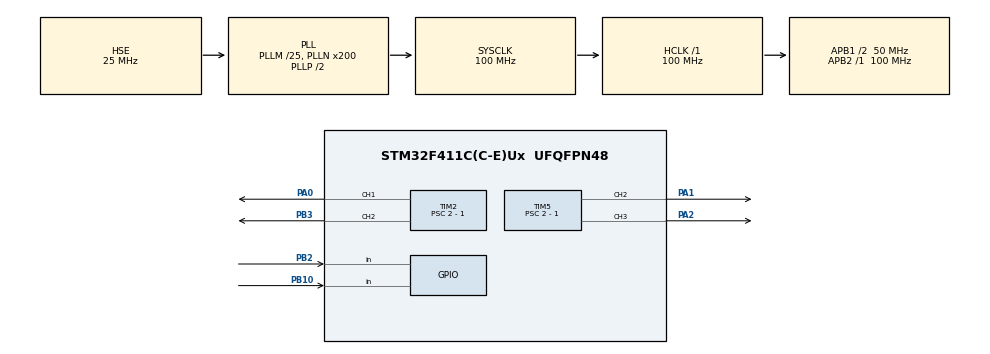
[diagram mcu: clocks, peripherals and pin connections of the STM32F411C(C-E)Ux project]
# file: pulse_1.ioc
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Mcu.Family=STM32F4
Mcu.Name=STM32F411C(C-E)Ux
Mcu.Package=UFQFPN48
NVIC.PriorityGroup=NVIC_PRIORITYGROUP_4
PA0-WKUP.Signal=S_TIM2_CH1_ETR
PA1.Signal=S_TIM5_CH2
PA13.Mode=Serial_Wire
PA13.Signal=SYS_JTMS-SWDIO
PA14.Mode=Serial_Wire
PA14.Signal=SYS_JTCK-SWCLK
PA2.Signal=S_TIM5_CH3
PB10.Signal=GPIO_Input
PB2.Signal=GPIO_Input
PB3.Signal=S_TIM2_CH2
PH0\ -\ OSC_IN.Mode=HSE-External-Oscillator
PH0\ -\ OSC_IN.Signal=RCC_OSC_IN
PH1\ -\ OSC_OUT.Mode=HSE-External-Oscillator
PH1\ -\ OSC_OUT.Signal=RCC_OSC_OUT
ProjectManager.HeapSize=0x200
ProjectManager.StackSize=0x400
ProjectManager.TargetToolchain=STM32CubeIDE
RCC.48MHZClocksFreq_Value=50000000
RCC.AHBFreq_Value=100000000
RCC.APB1CLKDivider=RCC_HCLK_DIV2
RCC.APB1Freq_Value=50000000
RCC.APB1TimFreq_Value=100000000
RCC.APB2Freq_Value=100000000
RCC.APB2TimFreq_Value=100000000
RCC.CortexFreq_Value=100000000
RCC.HCLKFreq_Value=100000000
RCC.HSE_VALUE=25000000
RCC.HSI_VALUE=16000000
RCC.LSE_VALUE=32768
RCC.PLLM=25
RCC.PLLN=200
RCC.PLLSourceVirtual=RCC_PLLSOURCE_HSE
RCC.SYSCLKFreq_VALUE=100000000
RCC.SYSCLKSource=RCC_SYSCLKSOURCE_PLLCLK
RCC.VCOOutputFreq_Value=200000000
SH.S_TIM2_CH1_ETR.0=TIM2_CH1,PWM Generation1 CH1
SH.S_TIM2_CH2.0=TIM2_CH2,PWM Generation2 CH2
SH.S_TIM5_CH2.0=TIM5_CH2,PWM Generation2 CH2
SH.S_TIM5_CH3.0=TIM5_CH3,PWM Generation3 CH3
TIM2.Channel-PWM\ Generation1\ CH1=TIM_CHANNEL_1
TIM2.Channel-PWM\ Generation2\ CH2=TIM_CHANNEL_2
TIM2.OCMode_PWM-PWM\ Generation2\ CH2=TIM_OCMODE_PWM2
TIM2.Period=10000-1
TIM2.Prescaler=2 - 1
TIM2.Pulse-PWM\ Generation1\ CH1=300-1
TIM2.Pulse-PWM\ Generation2\ CH2=300-1
TIM5.Channel-PWM\ Generation2\ CH2=TIM_CHANNEL_2
TIM5.Channel-PWM\ Generation3\ CH3=TIM_CHANNEL_3
TIM5.OCMode_PWM-PWM\ Generation2\ CH2=TIM_OCMODE_PWM1
TIM5.OCMode_PWM-PWM\ Generation3\ CH3=TIM_OCMODE_PWM2
TIM5.Period=10000-1
TIM5.Prescaler=2 - 1
TIM5.Pulse-PWM\ Generation2\ CH2=300-1
TIM5.Pulse-PWM\ Generation3\ CH3=300-1
TIM9.Period=500
TIM9.Prescaler=2-1
VP_TIM2_VS_ClockSourceINT.Mode=Internal
VP_TIM5_VS_ClockSourceINT.Mode=Internal
VP_TIM9_VS_ClockSourceINT.Mode=Internal
board=custom

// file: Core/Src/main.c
/* USER CODE BEGIN Header */
/**
  ******************************************************************************
  * @file           : main.c
  * @brief          : Main program body
  ******************************************************************************
  * @attention
  *
  * <h2><center>&copy; Copyright (c) 2021 STMicroelectronics.
  * All rights reserved.</center></h2>
  *
  * This software component is licensed by ST under BSD 3-Clause license,
  * the "License"; You may not use this file except in compliance with the
  * License. You may obtain a copy of the License at:
  *                        opensource.org/licenses/BSD-3-Clause
  *
  ******************************************************************************
  */
/* USER CODE END Header */
#include "main.h"

/* USER CODE BEGIN Includes */
#include "stdbool.h"
#include "stdio.h"
/* USER CODE END Includes */

TIM_HandleTypeDef htim2;
TIM_HandleTypeDef htim5;
TIM_HandleTypeDef htim9;

/* USER CODE BEGIN PV */

bool good = false;
bool ready = false;

int good_count = 0;
int ready_count = 0;

/* USER CODE END PV */

void SystemClock_Config(void);
static void MX_GPIO_Init(void);
static void MX_TIM2_Init(void);
static void MX_TIM9_Init(void);
static void MX_TIM5_Init(void);

/* USER CODE BEGIN 0 */
void 	 wait_good  (void);
void 	 wait_ready (void);
uint32_t millis     (void);
/* USER CODE END 0 */

int main(void)
{

  /* MCU Configuration--------------------------------------------------------*/

  /* Reset of all peripherals, Initializes the Flash interface and the Systick. */
  HAL_Init();

  /* Configure the system clock */
  SystemClock_Config();

  /* Initialize all configured peripherals */
  MX_GPIO_Init();
  MX_TIM2_Init();
  MX_TIM9_Init();
  MX_TIM5_Init();
  /* USER CODE BEGIN 2 */
  HAL_Delay(1000);

  wait_good();  // wait for good high(PB10)
  wait_ready();  // wait for ready high(PB2)

  HAL_Delay(1000);

  int count = 0;
  HAL_TIM_Base_Start(&htim9);

  /* USER CODE END 2 */

  /* Infinite loop */
  /* USER CODE BEGIN WHILE */
  while (1)
  {
	if(__HAL_TIM_GET_FLAG(&htim9, TIM_FLAG_UPDATE))
	{
		if(count == 0)
		{
			__HAL_TIM_CLEAR_IT(&htim9, TIM_IT_UPDATE);
			count += 1;
			HAL_TIM_PWM_Start(&htim2, TIM_CHANNEL_1);
			HAL_TIM_PWM_Start(&htim2, TIM_CHANNEL_2);
		}
		else if(count == 1)
		{
			  HAL_TIM_PWM_Start(&htim5, TIM_CHANNEL_2);
			  HAL_TIM_PWM_Start(&htim5, TIM_CHANNEL_3);
			  __HAL_TIM_CLEAR_IT(&htim9, TIM_IT_UPDATE);
			  count += 1;
		}
	}
    /* USER CODE END WHILE */

  }
}

void SystemClock_Config(void)
{
  RCC_OscInitTypeDef RCC_OscInitStruct = {0};
  RCC_ClkInitTypeDef RCC_ClkInitStruct = {0};

  /** Configure the main internal regulator output voltage
  */
  __HAL_RCC_PWR_CLK_ENABLE();
  __HAL_PWR_VOLTAGESCALING_CONFIG(PWR_REGULATOR_VOLTAGE_SCALE1);
  /** Initializes the RCC Oscillators according to the specified parameters
  * in the RCC_OscInitTypeDef structure.
  */
  RCC_OscInitStruct.OscillatorType = RCC_OSCILLATORTYPE_HSE;
  RCC_OscInitStruct.HSEState = RCC_HSE_ON;
  RCC_OscInitStruct.PLL.PLLState = RCC_PLL_ON;
  RCC_OscInitStruct.PLL.PLLSource = RCC_PLLSOURCE_HSE;
  RCC_OscInitStruct.PLL.PLLM = 25;
  RCC_OscInitStruct.PLL.PLLN = 200;
  RCC_OscInitStruct.PLL.PLLP = RCC_PLLP_DIV2;
  RCC_OscInitStruct.PLL.PLLQ = 4;
  if (HAL_RCC_OscConfig(&RCC_OscInitStruct) != HAL_OK)
  {
    Error_Handler();
  }
  /** Initializes the CPU, AHB and APB buses clocks
  */
  RCC_ClkInitStruct.ClockType = RCC_CLOCKTYPE_HCLK|RCC_CLOCKTYPE_SYSCLK
                              |RCC_CLOCKTYPE_PCLK1|RCC_CLOCKTYPE_PCLK2;
  RCC_ClkInitStruct.SYSCLKSource = RCC_SYSCLKSOURCE_PLLCLK;
  RCC_ClkInitStruct.AHBCLKDivider = RCC_SYSCLK_DIV1;
  RCC_ClkInitStruct.APB1CLKDivider = RCC_HCLK_DIV2;
  RCC_ClkInitStruct.APB2CLKDivider = RCC_HCLK_DIV1;

  if (HAL_RCC_ClockConfig(&RCC_ClkInitStruct, FLASH_LATENCY_3) != HAL_OK)
  {
    Error_Handler();
  }
}

static void MX_TIM2_Init(void)
{

  TIM_ClockConfigTypeDef sClockSourceConfig = {0};
  TIM_MasterConfigTypeDef sMasterConfig = {0};
  TIM_OC_InitTypeDef sConfigOC = {0};

  htim2.Instance = TIM2;
  htim2.Init.Prescaler = 2 - 1;
  htim2.Init.CounterMode = TIM_COUNTERMODE_UP;
  htim2.Init.Period = 10000-1;
  htim2.Init.ClockDivision = TIM_CLOCKDIVISION_DIV1;
  htim2.Init.AutoReloadPreload = TIM_AUTORELOAD_PRELOAD_DISABLE;
  if (HAL_TIM_Base_Init(&htim2) != HAL_OK)
  {
    Error_Handler();
  }
  sClockSourceConfig.ClockSource = TIM_CLOCKSOURCE_INTERNAL;
  if (HAL_TIM_ConfigClockSource(&htim2, &sClockSourceConfig) != HAL_OK)
  {
    Error_Handler();
  }
  if (HAL_TIM_PWM_Init(&htim2) != HAL_OK)
  {
    Error_Handler();
  }
  sMasterConfig.MasterOutputTrigger = TIM_TRGO_RESET;
  sMasterConfig.MasterSlaveMode = TIM_MASTERSLAVEMODE_DISABLE;
  if (HAL_TIMEx_MasterConfigSynchronization(&htim2, &sMasterConfig) != HAL_OK)
  {
    Error_Handler();
  }
  sConfigOC.OCMode = TIM_OCMODE_PWM1;
  sConfigOC.Pulse = 300-1;
  sConfigOC.OCPolarity = TIM_OCPOLARITY_HIGH;
  sConfigOC.OCFastMode = TIM_OCFAST_DISABLE;
  if (HAL_TIM_PWM_ConfigChannel(&htim2, &sConfigOC, TIM_CHANNEL_1) != HAL_OK)
  {
    Error_Handler();
  }
  sConfigOC.OCMode = TIM_OCMODE_PWM2;
  if (HAL_TIM_PWM_ConfigChannel(&htim2, &sConfigOC, TIM_CHANNEL_2) != HAL_OK)
  {
    Error_Handler();
  }
  HAL_TIM_MspPostInit(&htim2);

}

static void MX_TIM5_Init(void)
{

  TIM_ClockConfigTypeDef sClockSourceConfig = {0};
  TIM_MasterConfigTypeDef sMasterConfig = {0};
  TIM_OC_InitTypeDef sConfigOC = {0};

  htim5.Instance = TIM5;
  htim5.Init.Prescaler = 2 - 1;
  htim5.Init.CounterMode = TIM_COUNTERMODE_UP;
  htim5.Init.Period = 10000-1;
  htim5.Init.ClockDivision = TIM_CLOCKDIVISION_DIV1;
  htim5.Init.AutoReloadPreload = TIM_AUTORELOAD_PRELOAD_DISABLE;
  if (HAL_TIM_Base_Init(&htim5) != HAL_OK)
  {
    Error_Handler();
  }
  sClockSourceConfig.ClockSource = TIM_CLOCKSOURCE_INTERNAL;
  if (HAL_TIM_ConfigClockSource(&htim5, &sClockSourceConfig) != HAL_OK)
  {
    Error_Handler();
  }
  if (HAL_TIM_PWM_Init(&htim5) != HAL_OK)
  {
    Error_Handler();
  }
  sMasterConfig.MasterOutputTrigger = TIM_TRGO_RESET;
  sMasterConfig.MasterSlaveMode = TIM_MASTERSLAVEMODE_DISABLE;
  if (HAL_TIMEx_MasterConfigSynchronization(&htim5, &sMasterConfig) != HAL_OK)
  {
    Error_Handler();
  }
  sConfigOC.OCMode = TIM_OCMODE_PWM1;
  sConfigOC.Pulse = 300-1;
  sConfigOC.OCPolarity = TIM_OCPOLARITY_HIGH;
  sConfigOC.OCFastMode = TIM_OCFAST_DISABLE;
  if (HAL_TIM_PWM_ConfigChannel(&htim5, &sConfigOC, TIM_CHANNEL_2) != HAL_OK)
  {
    Error_Handler();
  }
  sConfigOC.OCMode = TIM_OCMODE_PWM2;
  if (HAL_TIM_PWM_ConfigChannel(&htim5, &sConfigOC, TIM_CHANNEL_3) != HAL_OK)
  {
    Error_Handler();
  }
  HAL_TIM_MspPostInit(&htim5);

}

static void MX_TIM9_Init(void)
{

  TIM_ClockConfigTypeDef sClockSourceConfig = {0};

  htim9.Instance = TIM9;
  htim9.Init.Prescaler = 2-1;
  htim9.Init.CounterMode = TIM_COUNTERMODE_UP;
  htim9.Init.Period = 500;
  htim9.Init.ClockDivision = TIM_CLOCKDIVISION_DIV1;
  htim9.Init.AutoReloadPreload = TIM_AUTORELOAD_PRELOAD_DISABLE;
  if (HAL_TIM_Base_Init(&htim9) != HAL_OK)
  {
    Error_Handler();
  }
  sClockSourceConfig.ClockSource = TIM_CLOCKSOURCE_INTERNAL;
  if (HAL_TIM_ConfigClockSource(&htim9, &sClockSourceConfig) != HAL_OK)
  {
    Error_Handler();
  }

}

static void MX_GPIO_Init(void)
{
  GPIO_InitTypeDef GPIO_InitStruct = {0};

  /* GPIO Ports Clock Enable */
  __HAL_RCC_GPIOH_CLK_ENABLE();
  __HAL_RCC_GPIOA_CLK_ENABLE();
  __HAL_RCC_GPIOB_CLK_ENABLE();

  /*Configure GPIO pins : PB2 PB10 */
  GPIO_InitStruct.Pin = GPIO_PIN_2|GPIO_PIN_10;
  GPIO_InitStruct.Mode = GPIO_MODE_INPUT;
  GPIO_InitStruct.Pull = GPIO_NOPULL;
  HAL_GPIO_Init(GPIOB, &GPIO_InitStruct);

}

/* USER CODE BEGIN 4 */
void wait_good(void)
{
	uint32_t mil = millis();

	while(true)
	{
		if(millis() - mil > 100)
		{
			mil = millis();
			if(HAL_GPIO_ReadPin(GPIOB, GPIO_PIN_10) == GPIO_PIN_SET) // good
			{
				good_count += 1;
				if(good_count > 10)
				{
					break;
				}
			}
			else
			{
				if(good_count > 0)
				{
					good_count -= 0;
				}
			}
		}
	}
}

void wait_ready(void)
{
	uint32_t mil = millis();

	while(true)
	{
		if(millis() - mil > 100)
		{
			mil = millis();
			if(HAL_GPIO_ReadPin(GPIOB, GPIO_PIN_2) == GPIO_PIN_SET) // ready
			{
				ready_count += 1;
				if(ready_count > 10)
				{
					break;
				}
			}
			else
			{
				if(ready_count > 0)
				{
					ready_count -= 0;
				}
			}
		}
	}
}
uint32_t millis(void)
{
	return HAL_GetTick();
}
/* USER CODE END 4 */

void Error_Handler(void)
{
  __disable_irq();
  while (1)
  {
  }
}

/************************ (C) COPYRIGHT STMicroelectronics *****END OF FILE****/
